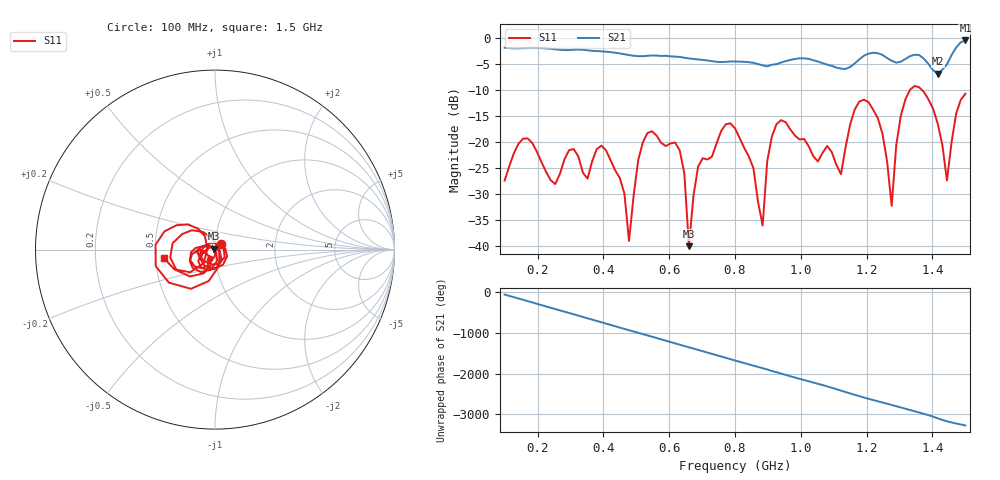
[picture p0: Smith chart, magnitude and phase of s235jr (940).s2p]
! NanoVNA-App
! Date: 2025-09-25 15:11:29
! Start: 100MHz Stop: 1,5GHz Points: 101
! S-Parameter data: F S11 S21 S12 S22
# Hz S RI R 50
!  Frequency  S11_Real  S11_Imag  S21_Real  S21_Imag  S12_Real  S12_Imag  S22_Real  S22_Imag
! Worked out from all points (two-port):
!   101 points, 100 MHz to 1.5 GHz, reference 50 ohm
!   highest |S21| = -0.57 dB at 1.5 GHz (marker M1); lowest = -6.9 dB at 1.416 GHz (marker M2)
!   |S21| within 3 dB of the highest: start of sweep to 504.7 MHz; 524.3 MHz to 597.2 MHz (72.94 MHz wide, 13 % of centre) (the widest 2 of 5)
!   lowest |S11| = -40.1 dB at 660 MHz (marker M3), VSWR 1.02, Z = 49.2 + j0.56 ohm
!   |S11| at or under -10 dB: start of sweep to 1.332 GHz; 1.367 GHz to end of sweep
!   S12 and S22 are empty: the file has one direction only
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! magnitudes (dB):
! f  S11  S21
! 100 MHz  -27.5  -2.0
! 156 MHz  -19.4  -2.0
! 338 MHz  -26.0  -2.4
! 408 MHz  -21.7  -2.7
! 478 MHz  -39.1  -3.4
! 520 MHz  -20.1  -3.6
! 576 MHz  -20.3  -3.5
! 632 MHz  -21.7  -3.7
! 660 MHz  -40.1  -4.0
! 688 MHz  -24.8  -4.2
! 800 MHz  -17.4  -4.6
! 884 MHz  -36.1  -5.3
! 926 MHz  -16.6  -5.1
! 1.038 GHz  -22.8  -4.4
! 1.122 GHz  -26.2  -6.0
! 1.206 GHz  -12.4  -3.1
! 1.276 GHz  -32.3  -4.5
! 1.304 GHz  -15.0  -4.6
! 1.332 GHz  -10.0  -3.6
! 1.416 GHz  -16.6  -6.9
! 1.444 GHz  -27.4  -5.2
! 1.5 GHz  -10.8  -0.6
